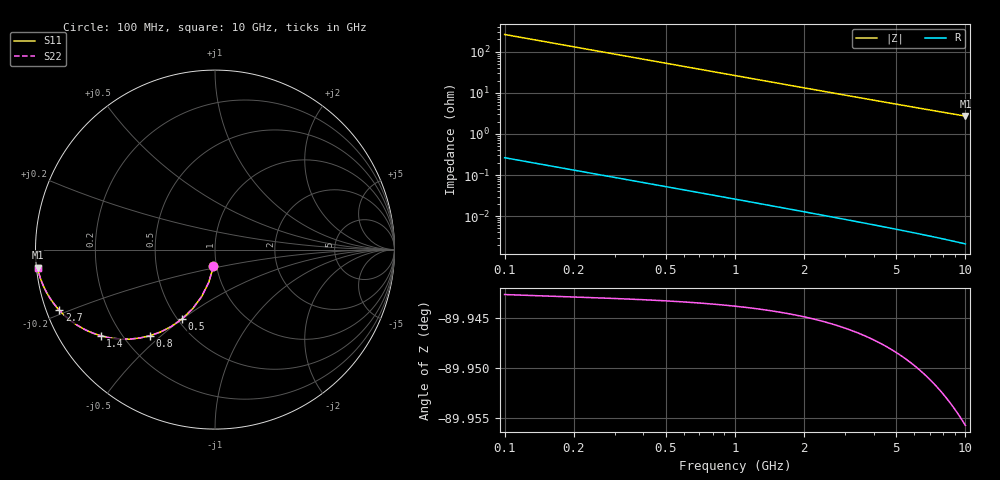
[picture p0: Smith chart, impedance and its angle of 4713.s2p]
# Hz S RI R 50.00
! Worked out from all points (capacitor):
!   100 points, 100 MHz to 10 GHz, reference 50 ohm
!   read as one part in shunt: C = 6.02 pF near 100 MHz
!   lowest |Z| = 2.73 ohm at 10 GHz (marker M1)
!   S11 on the Smith chart (normalised r, x): 100 MHz: 0.97, -0.18; 500 MHz: 0.53, -0.50; 800 MHz: 0.30, -0.46; 1.4 GHz: 0.13, -0.33; 2.7 GHz: 0.04, -0.19; 10 GHz: 0.00, -0.05
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1e8  -0.00893 -0.0937  0.991 -0.0938  0.991 -0.0938  -0.00893 -0.0937
2e8  -0.0347 -0.1825  0.9653 -0.1826  0.9653 -0.1826  -0.0347 -0.1825
3e8  -0.0747 -0.2623  0.9252 -0.2626  0.9252 -0.2626  -0.0747 -0.2623
4e8  -0.1254 -0.3306  0.8745 -0.3309  0.8745 -0.3309  -0.1254 -0.3306
5e8  -0.183 -0.386  0.817 -0.3864  0.817 -0.3864  -0.183 -0.386
6e8  -0.2438 -0.4286  0.7562 -0.4291  0.7562 -0.4291  -0.2438 -0.4286
7e8  -0.3049 -0.4596  0.6951 -0.4601  0.6951 -0.4601  -0.3049 -0.4596
8e8  -0.3641 -0.4804  0.6358 -0.481  0.6358 -0.481  -0.3641 -0.4804
9e8  -0.4201 -0.4927  0.5798 -0.4934  0.5798 -0.4934  -0.4201 -0.4927
1.1e9  -0.5197 -0.4987  0.4803 -0.4995  0.4803 -0.4995  -0.5197 -0.4987
1.2e9  -0.5628 -0.4951  0.4372 -0.496  0.4372 -0.496  -0.5628 -0.4951
1.4e9  -0.6365 -0.4799  0.3634 -0.481  0.3634 -0.481  -0.6365 -0.4799
1.6e9  -0.6957 -0.459  0.3042 -0.4602  0.3042 -0.4602  -0.6957 -0.459
1.8e9  -0.7431 -0.4357  0.2568 -0.4371  0.2568 -0.4371  -0.7431 -0.4357
2.2e9  -0.812 -0.3893  0.188 -0.3911  0.188 -0.3911  -0.812 -0.3893
2.7e9  -0.8667 -0.3383  0.1333 -0.3404  0.1333 -0.3404  -0.8667 -0.3383
3.4e9  -0.9115 -0.2821  0.0884 -0.2848  0.0884 -0.2848  -0.9115 -0.2821
4.2e9  -0.9401 -0.235  0.0598 -0.2383  0.0598 -0.2383  -0.9401 -0.235
5.1e9  -0.9586 -0.1966  0.0414 -0.2007  0.0414 -0.2007  -0.9586 -0.1966
6.7e9  -0.9756 -0.1511  0.0244 -0.1564  0.0244 -0.1564  -0.9756 -0.1511
8.4e9  -0.9843 -0.1201  0.0156 -0.1268  0.0156 -0.1268  -0.9843 -0.1201
1e10  -0.9889 -0.0999  0.011 -0.108  0.011 -0.108  -0.9889 -0.0999
